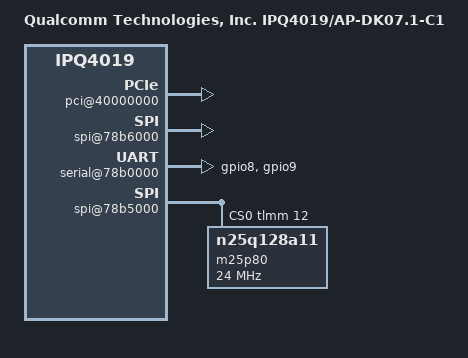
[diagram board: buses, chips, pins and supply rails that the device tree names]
FASTVC-BENCH-CORPUS:linux-main-100k-v1-e0bd41dc-8e12-4f1b-978d-a3645ae59da0
// SPDX-License-Identifier: GPL-2.0
// Copyright (c) 2018, The Linux Foundation. All rights reserved.

#include "qcom-ipq4019-ap.dk07.1.dtsi"

/ {
	model = "Qualcomm Technologies, Inc. IPQ4019/AP-DK07.1-C1";
	compatible = "qcom,ipq4019-ap-dk07.1-c1";

	soc {
		pci@40000000 {
			status = "okay";
			perst-gpio = <&tlmm 38 0x1>;
		};

		spi@78b6000 {
			status = "okay";
		};

		pinctrl@1000000 {
			serial_1_pins: serial1-pinmux {
				pins = "gpio8", "gpio9",
/* bench 4922.2.0 c24b36174981 */
/* bench 4922.2.1 c9c106cbd9f2 */
/* bench 4922.2.2 a5633021e4ca */
/* bench 4922.2.3 209af7ee6186 */
/* bench 4922.2.4 63faaefb0d35 */
/* bench 4922.2.5 ec7988645298 */
/* bench 4922.2.6 be1e19d5c1da */
/* bench 4922.2.7 be9a10c84429 */
/* bench 4922.2.8 79ae9a457e4b */
/* bench 4922.2.9 378b9eec6229 */
				bias-disable;
			};
/* bench 11321.2.0 8bd225a49dd2 */
/* bench 11321.2.1 7e6773fd6bd7 */
/* bench 11321.2.2 05fbe3d05322 */
/* bench 11321.2.3 bf55f1dfbb37 */
/* bench 11321.2.4 2163bf6cd90e */
/* bench 11321.2.5 9c04b4688168 */
/* bench 11321.2.6 d754483ed889 */
/* bench 11321.2.7 6d1d06b8f0f7 */
/* bench 11321.2.8 e927dee44f02 */
				pinmux {
					function = "blsp_spi0";
					pins = "gpio13", "gpio14", "gpio15";
					bias-disable;
				};
				pinmux_cs {
					function = "gpio";
					pins = "gpio12";
					bias-disable;
					output-high;
				};
			};
		};

		serial@78b0000 {
			pinctrl-0 = <&serial_1_pins>;
			pinctrl-names = "default";
			status = "okay";
		};

		spi@78b5000 {
			pinctrl-0 = <&spi_0_pins>;
			pinctrl-names = "default";
			status = "okay";
			cs-gpios = <&tlmm 12 0>;

			m25p80@0 {
				#address-cells = <1>;
				#size-cells = <1>;
				reg = <0>;
				compatible = "n25q128a11";
				spi-max-frequency = <24000000>;
			};
		};
	};
};
